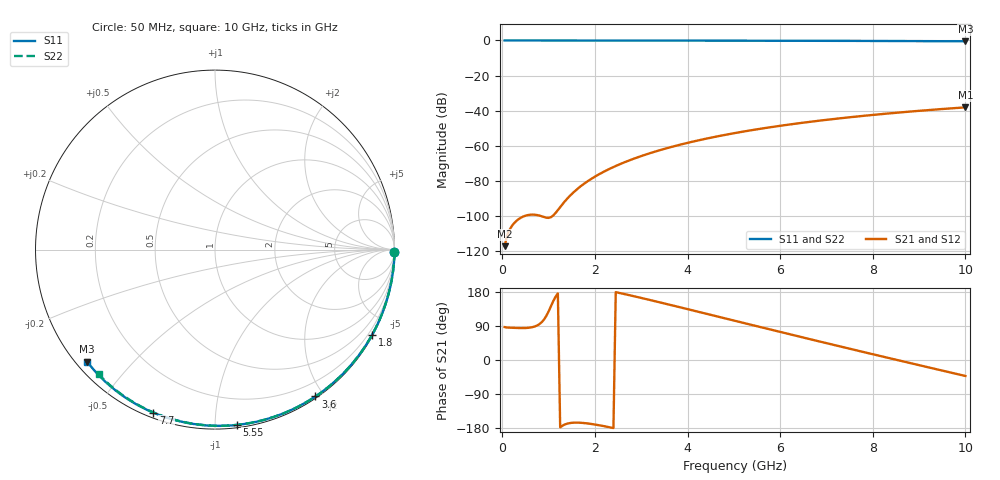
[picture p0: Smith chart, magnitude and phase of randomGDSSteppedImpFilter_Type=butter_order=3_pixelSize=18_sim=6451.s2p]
! freq	dB(S11)	phase(S11)	dB(S12)	phase(S12)
!  dB(S21)	phase(S21)	dB(S22)	phase(S22)
!S-par simulation data
#  GHz  S  DB  R 50
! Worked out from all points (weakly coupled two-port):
!   200 points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, 50 MHz to 10 GHz, reference 50 ohm
!   highest |S21| = -38.05 dB at 10 GHz (marker M1); lowest = -117.0 dB at 50 MHz (marker M2)
!   lowest |S11| = -0.5 dB at 10 GHz (marker M3), VSWR 37.06, Z = 1.54 - j18.8 ohm
!   |S11| at or under -10 dB: nowhere
!   |S22| runs from -0.4 to 0.0 dB; largest |S21 - S12| = 0
!   S11 on the Smith chart (normalised r, x): 50 MHz: open; 1.8 GHz: 0.03, -3.94; 3.6 GHz: 0.02, -1.90; 5.55 GHz: 0.02, -1.13; 7.7 GHz: 0.02, -0.69; 10 GHz: 0.03, -0.38
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0.05  -0.00 -0.8  -117.01 86.8  -117.01 86.8  -0.00 -0.8
0.45  -0.01 -7.2  -100.17 84.2  -100.17 84.2  -0.01 -6.9
0.9  -0.02 -14.4  -100.45 106.7  -100.45 106.7  -0.02 -13.8
1.75  -0.04 -27.7  -81.80 -166.2  -81.80 -166.2  -0.03 -26.5
1.8  -0.04 -28.5  -80.85 -166.8  -80.85 -166.8  -0.03 -27.3
1.85  -0.04 -29.3  -79.95 -167.5  -79.95 -167.5  -0.04 -28.0
2  -0.04 -31.6  -77.47 -170.2  -77.47 -170.2  -0.04 -30.2
2.15  -0.04 -33.9  -75.24 -173.5  -75.24 -173.5  -0.04 -32.4
2.35  -0.05 -37.0  -72.60 -178.4  -72.60 -178.4  -0.05 -35.4
2.55  -0.05 -40.0  -70.25 176.4  -70.25 176.4  -0.05 -38.3
2.95  -0.06 -46.0  -66.21 165.3  -66.21 165.3  -0.06 -44.1
3.4  -0.07 -52.7  -62.42 152.2  -62.42 152.2  -0.07 -50.5
3.6  -0.08 -55.6  -60.93 146.2  -60.93 146.2  -0.07 -53.3
4.3  -0.09 -65.7  -56.44 125.3  -56.44 125.3  -0.09 -63.0
5.05  -0.12 -76.2  -52.54 102.7  -52.54 102.7  -0.11 -73.0
5.55  -0.14 -83.0  -50.32 87.6  -50.32 87.6  -0.13 -79.6
6.1  -0.16 -90.3  -48.17 71.1  -48.17 71.1  -0.15 -86.6
6.7  -0.19 -98.1  -46.09 53.3  -46.09 53.3  -0.18 -94.1
7.7  -0.25 -110.8  -43.14 23.9  -43.14 23.9  -0.24 -106.2
8.35  -0.30 -118.8  -41.49 5.1  -41.49 5.1  -0.29 -113.9
9.2  -0.38 -129.2  -39.60 -19.3  -39.60 -19.3  -0.36 -123.8
10  -0.47 -138.8  -38.05 -42.2  -38.05 -42.2  -0.45 -133.0
